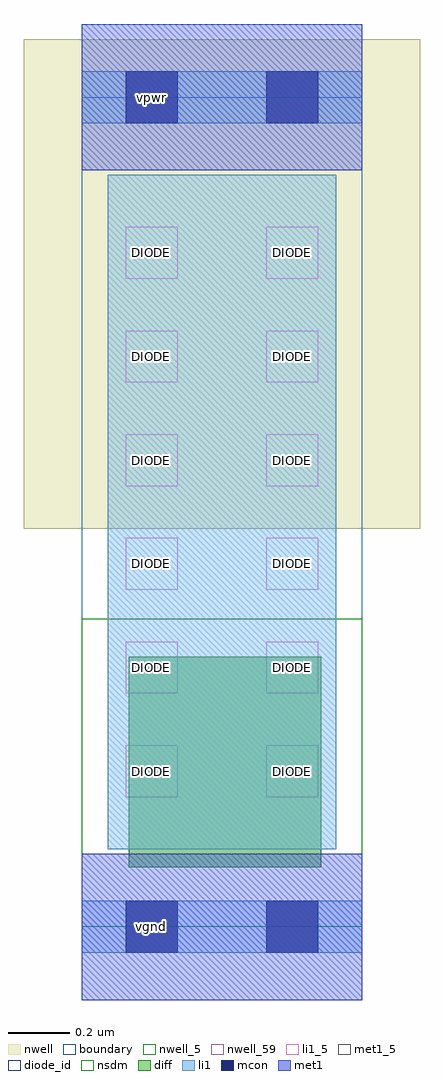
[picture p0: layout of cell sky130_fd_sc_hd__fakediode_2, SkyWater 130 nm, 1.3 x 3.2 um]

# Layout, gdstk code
import gdstk
lib = gdstk.Library(unit=1e-6, precision=1e-09)
def R(c, l, rs):  # rectangles x0, y0, x1, y1
    for r in rs: c.add(gdstk.rectangle(r[:2], r[2:], *l))
def A(c, l, x, y, w, h, nx, ny, dx, dy):  # array of equal rectangles
    R(c, l, [(x+i*dx, y+j*dy, x+i*dx+w, y+j*dy+h) for i in range(nx) for j in range(ny)])
nwell_5 = (64, 5)
nwell = (64, 20)
nwell_59 = (64, 59)
diff = (65, 20)
li1_5 = (67, 5)
li1 = (67, 20)
mcon = (67, 44)
met1_5 = (68, 5)
met1 = (68, 20)
diode_id = (81, 23)
nsdm = (93, 44)
boundary = (235, 4)

sky130_fd_sc_hd__fakedio = lib.new_cell('sky130_fd_sc_hd__fakediode_2')
R(sky130_fd_sc_hd__fakedio, nwell_5, [(0.145,2.635,0.315,2.805)])
R(sky130_fd_sc_hd__fakedio, nwell, [(-0.19,1.305,1.11,2.91)])
R(sky130_fd_sc_hd__fakedio, nwell_59, [(0.145,-0.085,0.315,0.085)])
R(sky130_fd_sc_hd__fakedio, diff, [(0.155,0.195,0.785,0.885)])
A(sky130_fd_sc_hd__fakedio, li1_5, 0.145, 0.425, 0.17, 0.17, 1, 6, 0, 0.34)
A(sky130_fd_sc_hd__fakedio, li1_5, 0.605, 0.425, 0.17, 0.17, 1, 6, 0, 0.34)
R(sky130_fd_sc_hd__fakedio, li1, [(0,-0.085,0.92,0.085), (0.085,0.255,0.835,2.465), (0,2.635,0.92,2.805)])
R(sky130_fd_sc_hd__fakedio, mcon, [(0.145,-0.085,0.315,0.085), (0.605,-0.085,0.775,0.085), (0.145,2.635,0.315,2.805), (0.605,2.635,0.775,2.805)])
R(sky130_fd_sc_hd__fakedio, met1_5, [(0.145,-0.085,0.315,0.085), (0.145,2.635,0.315,2.805)])
R(sky130_fd_sc_hd__fakedio, met1, [(0,-0.24,0.92,0.24), (0,2.48,0.92,2.96)])
R(sky130_fd_sc_hd__fakedio, diode_id, [(0.155,0.195,0.785,0.885)])
R(sky130_fd_sc_hd__fakedio, nsdm, [(0,0,0.92,1.01)])
R(sky130_fd_sc_hd__fakedio, boundary, [(0,0,0.92,2.72)])
sky130_fd_sc_hd__fakedio.add(gdstk.Label('DIODE', (0.69,0.51), layer=67, texttype=5))
sky130_fd_sc_hd__fakedio.add(gdstk.Label('DIODE', (0.69,1.87), layer=67, texttype=5))
sky130_fd_sc_hd__fakedio.add(gdstk.Label('DIODE', (0.23,1.87), layer=67, texttype=5))
sky130_fd_sc_hd__fakedio.add(gdstk.Label('DIODE', (0.69,2.21), layer=67, texttype=5))
sky130_fd_sc_hd__fakedio.add(gdstk.Label('DIODE', (0.23,2.21), layer=67, texttype=5))
sky130_fd_sc_hd__fakedio.add(gdstk.Label('DIODE', (0.23,1.53), layer=67, texttype=5))
sky130_fd_sc_hd__fakedio.add(gdstk.Label('DIODE', (0.69,1.53), layer=67, texttype=5))
sky130_fd_sc_hd__fakedio.add(gdstk.Label('DIODE', (0.23,1.19), layer=67, texttype=5))
sky130_fd_sc_hd__fakedio.add(gdstk.Label('DIODE', (0.69,1.19), layer=67, texttype=5))
sky130_fd_sc_hd__fakedio.add(gdstk.Label('DIODE', (0.69,0.85), layer=67, texttype=5))
sky130_fd_sc_hd__fakedio.add(gdstk.Label('DIODE', (0.23,0.85), layer=67, texttype=5))
sky130_fd_sc_hd__fakedio.add(gdstk.Label('DIODE', (0.23,0.51), layer=67, texttype=5))
sky130_fd_sc_hd__fakedio.add(gdstk.Label('vgnd', (0.23,0), layer=68, texttype=5))
sky130_fd_sc_hd__fakedio.add(gdstk.Label('vpwr', (0.23,2.72), layer=68, texttype=5))
sky130_fd_sc_hd__fakedio.add(gdstk.Label('vpb', (0.23,2.72), layer=64, texttype=5))
sky130_fd_sc_hd__fakedio.add(gdstk.Label('vnb', (0.23,0), layer=64, texttype=59))

lib.write_gds('sky130_fd_sc_hd__fakediode_2.gds')
